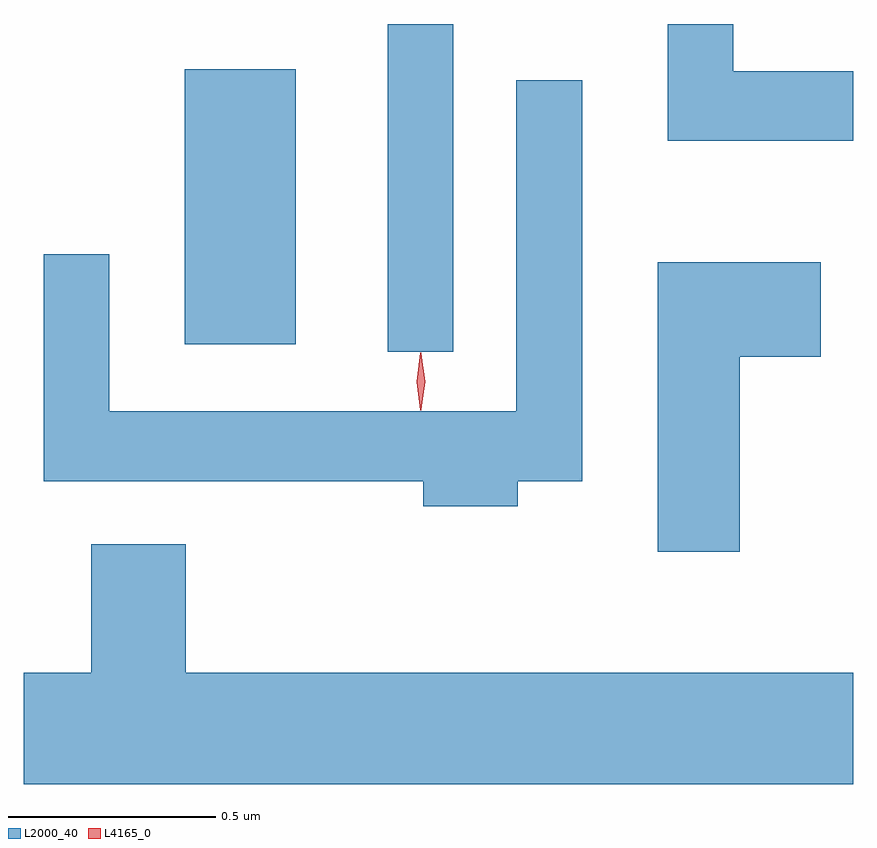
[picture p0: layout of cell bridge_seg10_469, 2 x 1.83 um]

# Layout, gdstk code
import gdstk
lib = gdstk.Library(unit=1e-6, precision=1e-09)
def R(c, l, rs):  # rectangles x0, y0, x1, y1
    for r in rs: c.add(gdstk.rectangle(r[:2], r[2:], *l))
def P(c, l, *ps):  # polygons
    for p in ps: c.add(gdstk.Polygon(p, *l))
L2000_40 = (2000, 40)
L4165_0 = (4165, 0)

bridge_seg10_469 = lib.new_cell('bridge_seg10_469')
R(bridge_seg10_469, L2000_40, [(1424.546,2103.858,1424.704,2104.648), (1424.056,2103.876,1424.324,2104.539)])
P(bridge_seg10_469, L2000_40, [(1425.668,2104.534),(1425.379,2104.534),(1425.379,2104.648),(1425.221,2104.648),(1425.221,2104.366),(1425.668,2104.366)],
  [(1424.859,2103.546),(1425.014,2103.546),(1425.014,2104.513),(1424.856,2104.513),(1424.856,2103.714),(1423.874,2103.714),(1423.874,2104.093),(1423.716,2104.093),(1423.716,2103.546),(1424.631,2103.546),(1424.631,2103.486),(1424.859,2103.486)],
  [(1425.394,2103.846),(1425.589,2103.846),(1425.589,2104.074),(1425.196,2104.074),(1425.196,2103.376),(1425.394,2103.376)],
  [(1425.668,2103.084),(1424.059,2103.084),(1424.059,2103.394),(1423.831,2103.394),(1423.831,2103.084),(1423.668,2103.084),(1423.668,2102.816),(1425.668,2102.816)])
P(bridge_seg10_469, L4165_0, [(1424.624,2103.717),(1424.615,2103.786),(1424.624,2103.856),(1424.625,2103.856),(1424.626,2103.856),(1424.635,2103.786),(1424.626,2103.717),(1424.625,2103.717)],
  [(1424.626,2103.72),(1424.626,2103.72),(1424.616,2103.786),(1424.625,2103.852),(1424.626,2103.853),(1424.626,2103.852),(1424.636,2103.786),(1424.626,2103.72)])

lib.write_gds('bridge_seg10_469.gds')
